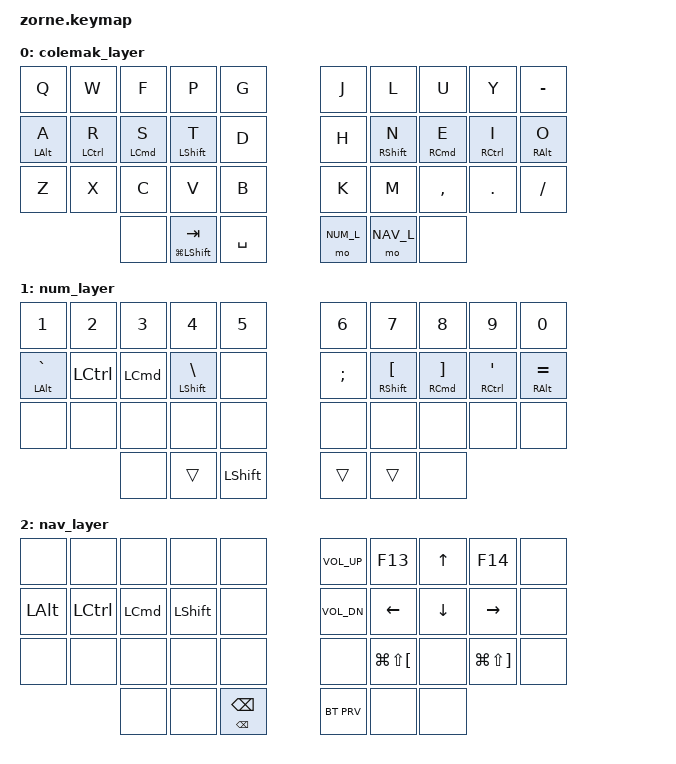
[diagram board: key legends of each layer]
/*
 * Copyright (c) 2021 The ZMK Contributors
 *
 * SPDX-License-Identifier: MIT
 */

#include <behaviors.dtsi>
#include <dt-bindings/zmk/bt.h>
#include <dt-bindings/zmk/keys.h>

//&sk {
//    release-after-ms = <750>;
//    quick-release;
//};

&caps_word {
    continue-list = <DEL MINUS BSPC>;
};

#define BASE_L 0
#define NUM_L  1
#define NAV_L  2

//#define VI_U LC(Z)
//#define VI_W LC(RIGHT)
//#define VI_B LC(LEFT)

#define L_KEYS 0 1 2 3 4 10 11 12 13 14 20 21 22 23 24
#define R_KEYS 5 6 7 8 9 15 16 17 18 19 25 26 27 28 29
#define THUMBS 30 31 32 33 34 35

/ {
    combos {
        compatible = "zmk,combos";

        // shortcut
        #define COMBO(NAME, BINDINGS, KEYPOS, TIMEOUT) \
              combo_##NAME { \
                timeout-ms = <TIMEOUT>; \
                bindings = <BINDINGS>; \
                key-positions = <KEYPOS>; \
              };

        /*                KEY POSITIONS

          ╭────────────────────╮ ╭────────────────────╮
          │  0   1   2   3   4 │ │  5   6   7   8   9 │
          │ 10  11  12  13  14 │ │ 15  16  17  18  19 │
          │ 20  21  22  23  24 │ │ 25  26  27  28  29 │
          ╰───────╮ 30  31  32 │ │ 33  34  35 ╭───────╯
                  ╰────────────╯ ╰────────────╯        */

        COMBO(escape, &kp ESC, 1 2, 60)
        COMBO(tab, &kp TAB, 11 12, 60)

        COMBO(kana, &kp LANG1, 6 16, 60)
        COMBO(eisuu, &kp LANG2, 3 13, 60)

        COMBO(copy, &kp LG(C), 21 22, 60)
        COMBO(paste, &kp LG(V), 22 23, 60)

        COMBO(backspace, &kp BSPC, 7 8, 60)
        COMBO(return, &kp RET, 17 18, 60)

        COMBO(special, &kp LG(F15), 32 33, 60)
    };

    behaviors {
        base_lt: base_layer_hold_tap {
            compatible = "zmk,behavior-hold-tap";
            label = "BASE_LAYER_HOLD_TAP";
            #binding-cells = <2>;
            flavor = "tap-preferred";
            tapping-term-ms = <200>;
            quick-tap-ms = <75>;
            global-quick-tap;
            bindings = <&mo>, <&kp>;
        };
        lhr: left_homerow_mods {
            compatible = "zmk,behavior-hold-tap";
            label = "LEFT_HOMEROW_MODS";
            #binding-cells = <2>;
            tapping-term-ms = <150>;
            quick-tap-ms = <0>;
            flavor = "tap-preferred";
            bindings = <&kp>, <&kp>;
            hold-trigger-key-positions = <R_KEYS>;
        };
        rhr: right_homerow_mods {
            compatible = "zmk,behavior-hold-tap";
            label = "RIGHT_HOMEROW_MODS";
            #binding-cells = <2>;
            tapping-term-ms = <150>;
            quick-tap-ms = <0>;
            flavor = "tap-preferred";
            bindings = <&kp>, <&kp>;
            hold-trigger-key-positions = <L_KEYS>;
        };
    };

	keymap {
		compatible = "zmk,keymap";

        // COLEMAK
		colemak_layer {
			bindings = <
                   &kp Q        &kp W         &kp F         &kp P              &kp G              &kp J               &kp L            &kp U                 &kp Y         &kp MINUS
                   &lhr LALT A  &lhr LCTRL R  &lhr LCMD S   &lhr LSHIFT T      &kp D              &kp H               &rhr RSHIFT N    &rhr RCMD E           &rhr RCTRL I  &rhr RALT O
                   &kp Z        &kp X         &kp C         &kp V              &kp B              &kp K               &kp M            &kp COMMA             &kp DOT       &kp SLASH
				 /*&            &*/           &none         &mt LG(LSHIFT) TAB &kp SPACE          &mo NUM_L           &mo NAV_L        &none     /*  &             &*/
			>;
		};

		num_layer {
			bindings = <
                   &kp N1       &kp N2        &kp N3        &kp N4             &kp N5             &kp N6              &kp N7           &kp N8                   &kp N9        &kp N0
                   &lhr LALT GRAVE &kp LCTRL  &kp LCMD      &lhr LSHIFT BACKSLASH  &none          &kp SEMI            &rhr RSHIFT LBKT &rhr RCMD RBKT           &rhr RCTRL SQT &rhr RALT EQUAL
                   &none        &none         &none         &none              &none              &none               &none            &none                    &none         &none
				 /*&            &*/           &none         &trans             &kp LSHIFT         &trans              &trans           &none     /*             &             &*/
			>;
		};

		nav_layer {
			bindings = <
                   &none        &none         &none         &none              &none             &kp C_VOL_UP        &kp F13          &kp UP                   &kp F14       &none
                   &kp LALT     &kp LCTRL     &kp LCMD      &kp LSHIFT         &none             &kp C_VOL_DN        &kp LEFT         &kp DOWN                 &kp RIGHT     &none
                   &none        &none         &none         &none              &none             &none               &kp LG(LS(LBKT)) &none                    &kp LG(LS(RBKT)) &none
				 /*&            &*/           &none         &none              &mt BSPC BSPC     &bt BT_PRV          &none            &none     /*            &             &*/
			>;
		};
	};
};
